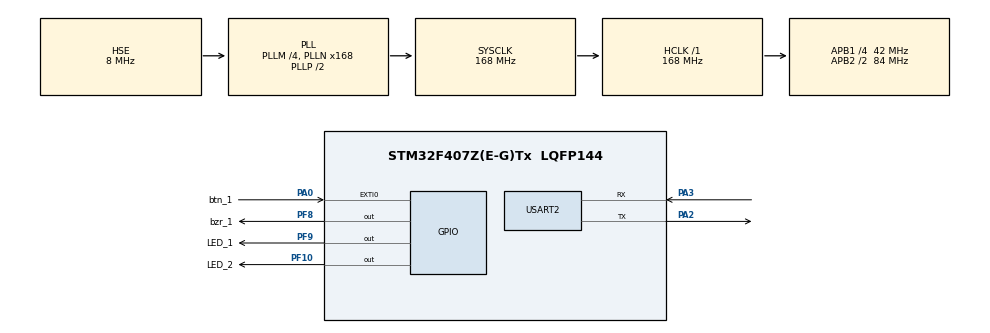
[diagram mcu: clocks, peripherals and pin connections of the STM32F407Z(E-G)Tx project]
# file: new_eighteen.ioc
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FREERTOS.Queues01=q_sendto_uart,10,uint8_t,0,Dynamic,NULL,NULL;q_sendto_output,10,uint8_t,0,Dynamic,NULL,NULL
FREERTOS.Tasks01=t_output,24,128,entry_t_light_buzzer,Default,NULL,Dynamic,NULL,NULL;t_read_btn,32,128,entry_t_read_btn,Default,NULL,Dynamic,NULL,NULL;t_uart,24,256,entry_t_uart,Default,NULL,Dynamic,NULL,NULL
Mcu.Family=STM32F4
Mcu.Name=STM32F407Z(E-G)Tx
Mcu.Package=LQFP144
NVIC.EXTI0_IRQn=true\:5\:0\:true\:false\:true\:true\:true\:true\:true
NVIC.PriorityGroup=NVIC_PRIORITYGROUP_4
NVIC.RCC_IRQn=true\:5\:0\:true\:false\:true\:true\:true\:false\:true
NVIC.TIM6_DAC_IRQn=true\:0\:0\:true\:false\:true\:false\:false\:true\:true
NVIC.TimeBase=TIM6_DAC_IRQn
NVIC.TimeBaseIP=TIM6
NVIC.USART2_IRQn=true\:9\:0\:true\:false\:true\:true\:true\:true\:true
PA0-WKUP.GPIO_Label=btn_1
PA0-WKUP.GPIO_ModeDefaultEXTI=GPIO_MODE_IT_RISING
PA0-WKUP.GPIO_PuPd=GPIO_PULLDOWN
PA0-WKUP.Signal=GPXTI0
PA13.Mode=Serial_Wire
PA13.Signal=SYS_JTMS-SWDIO
PA14.Mode=Serial_Wire
PA14.Signal=SYS_JTCK-SWCLK
PA2.Mode=Asynchronous
PA2.Signal=USART2_TX
PA3.Mode=Asynchronous
PA3.Signal=USART2_RX
PF10.GPIO_Label=LED_2
PF10.GPIO_PuPd=GPIO_PULLUP
PF10.GPIO_Speed=GPIO_SPEED_FREQ_VERY_HIGH
PF10.Signal=GPIO_Output
PF8.GPIO_Label=bzr_1
PF8.GPIO_Speed=GPIO_SPEED_FREQ_VERY_HIGH
PF8.PinState=GPIO_PIN_SET
PF8.Signal=GPIO_Output
PF9.GPIO_Label=LED_1
PF9.GPIO_PuPd=GPIO_PULLUP
PF9.GPIO_Speed=GPIO_SPEED_FREQ_VERY_HIGH
PF9.Signal=GPIO_Output
PH0-OSC_IN.Mode=HSE-External-Oscillator
PH0-OSC_IN.Signal=RCC_OSC_IN
PH1-OSC_OUT.Mode=HSE-External-Oscillator
PH1-OSC_OUT.Signal=RCC_OSC_OUT
ProjectManager.HeapSize=0x200
ProjectManager.StackSize=0x400
ProjectManager.TargetToolchain=STM32CubeIDE
RCC.48MHZClocksFreq_Value=84000000
RCC.AHBFreq_Value=168000000
RCC.APB1CLKDivider=RCC_HCLK_DIV4
RCC.APB1Freq_Value=42000000
RCC.APB1TimFreq_Value=84000000
RCC.APB2CLKDivider=RCC_HCLK_DIV2
RCC.APB2Freq_Value=84000000
RCC.APB2TimFreq_Value=168000000
RCC.CortexFreq_Value=168000000
RCC.HCLKFreq_Value=168000000
RCC.HSE_VALUE=8000000
RCC.HSI_VALUE=16000000
RCC.LSE_VALUE=32768
RCC.PLLM=4
RCC.PLLN=168
RCC.PLLSourceVirtual=RCC_PLLSOURCE_HSE
RCC.SYSCLKFreq_VALUE=168000000
RCC.SYSCLKSource=RCC_SYSCLKSOURCE_PLLCLK
RCC.VCOOutputFreq_Value=336000000
USART2.VirtualMode=VM_ASYNC
VP_FREERTOS_VS_CMSIS_V2.Mode=CMSIS_V2
VP_SYS_VS_tim6.Mode=TIM6
board=custom

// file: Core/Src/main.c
/* USER CODE BEGIN Header */
/**
  ******************************************************************************
  * @file           : main.c
  * @brief          : Main program body
  ******************************************************************************
  * @attention
  *
  * Copyright (c) 2024 STMicroelectronics.
  * All rights reserved.
  *
  * This software is licensed under terms that can be found in the LICENSE file
  * in the root directory of this software component.
  * If no LICENSE file comes with this software, it is provided AS-IS.
  *
  ******************************************************************************
  */
/* USER CODE END Header */
#include "main.h"
#include "cmsis_os.h"
#include "usart.h"
#include "gpio.h"

void SystemClock_Config(void);
void MX_FREERTOS_Init(void);

int main(void)
{

  /* MCU Configuration--------------------------------------------------------*/

  /* Reset of all peripherals, Initializes the Flash interface and the Systick. */
  HAL_Init();

  /* Configure the system clock */
  SystemClock_Config();

  /* Initialize all configured peripherals */
  MX_GPIO_Init();
  MX_USART2_UART_Init();

  /* Init scheduler */
  osKernelInitialize();

  /* Call init function for freertos objects (in cmsis_os2.c) */
  MX_FREERTOS_Init();

  /* Start scheduler */
  osKernelStart();

  /* We should never get here as control is now taken by the scheduler */

  /* Infinite loop */
  while (1)
  {

  }
}

void SystemClock_Config(void)
{
  RCC_OscInitTypeDef RCC_OscInitStruct = {0};
  RCC_ClkInitTypeDef RCC_ClkInitStruct = {0};

  /** Configure the main internal regulator output voltage
  */
  __HAL_RCC_PWR_CLK_ENABLE();
  __HAL_PWR_VOLTAGESCALING_CONFIG(PWR_REGULATOR_VOLTAGE_SCALE1);

  /** Initializes the RCC Oscillators according to the specified parameters
  * in the RCC_OscInitTypeDef structure.
  */
  RCC_OscInitStruct.OscillatorType = RCC_OSCILLATORTYPE_HSE;
  RCC_OscInitStruct.HSEState = RCC_HSE_ON;
  RCC_OscInitStruct.PLL.PLLState = RCC_PLL_ON;
  RCC_OscInitStruct.PLL.PLLSource = RCC_PLLSOURCE_HSE;
  RCC_OscInitStruct.PLL.PLLM = 4;
  RCC_OscInitStruct.PLL.PLLN = 168;
  RCC_OscInitStruct.PLL.PLLP = RCC_PLLP_DIV2;
  RCC_OscInitStruct.PLL.PLLQ = 4;
  if (HAL_RCC_OscConfig(&RCC_OscInitStruct) != HAL_OK)
  {
    Error_Handler();
  }

  /** Initializes the CPU, AHB and APB buses clocks
  */
  RCC_ClkInitStruct.ClockType = RCC_CLOCKTYPE_HCLK|RCC_CLOCKTYPE_SYSCLK
                              |RCC_CLOCKTYPE_PCLK1|RCC_CLOCKTYPE_PCLK2;
  RCC_ClkInitStruct.SYSCLKSource = RCC_SYSCLKSOURCE_PLLCLK;
  RCC_ClkInitStruct.AHBCLKDivider = RCC_SYSCLK_DIV1;
  RCC_ClkInitStruct.APB1CLKDivider = RCC_HCLK_DIV4;
  RCC_ClkInitStruct.APB2CLKDivider = RCC_HCLK_DIV2;

  if (HAL_RCC_ClockConfig(&RCC_ClkInitStruct, FLASH_LATENCY_5) != HAL_OK)
  {
    Error_Handler();
  }
}

void HAL_TIM_PeriodElapsedCallback(TIM_HandleTypeDef *htim)
{
  if (htim->Instance == TIM6) {
    HAL_IncTick();
  }
}

void Error_Handler(void)
{
  __disable_irq();
  while (1)
  {
  }
}

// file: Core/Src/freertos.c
/* USER CODE BEGIN Header */
/**
  ******************************************************************************
  * File Name          : freertos.c
  * Description        : Code for freertos applications
  ******************************************************************************
  * @attention
  *
  * Copyright (c) 2024 STMicroelectronics.
  * All rights reserved.
  *
  * This software is licensed under terms that can be found in the LICENSE file
  * in the root directory of this software component.
  * If no LICENSE file comes with this software, it is provided AS-IS.
  *
  ******************************************************************************
  */
/* USER CODE END Header */

#include "self.h"

/* USER CODE BEGIN Variables */
push_opt_stu situation = IDLE;
btn_stu extern if_btn_opr;
uint32_t gap = 0;
/* USER CODE END Variables */
/* Definitions for t_output */
osThreadId_t t_outputHandle;
const osThreadAttr_t t_output_attributes = {
  .name = "t_output",
  .stack_size = 128 * 4,
  .priority = (osPriority_t) osPriorityNormal,
};
/* Definitions for t_read_btn */
osThreadId_t t_read_btnHandle;
const osThreadAttr_t t_read_btn_attributes = {
  .name = "t_read_btn",
  .stack_size = 128 * 4,
  .priority = (osPriority_t) osPriorityAboveNormal,
};
/* Definitions for t_uart */
osThreadId_t t_uartHandle;
const osThreadAttr_t t_uart_attributes = {
  .name = "t_uart",
  .stack_size = 256 * 4,
  .priority = (osPriority_t) osPriorityNormal,
};
/* Definitions for q_sendto_uart */
osMessageQueueId_t q_sendto_uartHandle;
const osMessageQueueAttr_t q_sendto_uart_attributes = {
  .name = "q_sendto_uart"
};
/* Definitions for q_sendto_output */
osMessageQueueId_t q_sendto_outputHandle;
const osMessageQueueAttr_t q_sendto_output_attributes = {
  .name = "q_sendto_output"
};

void entry_t_light_buzzer(void *argument);
void entry_t_read_btn(void *argument);
void entry_t_uart(void *argument);

void MX_FREERTOS_Init(void); /* (MISRA C 2004 rule 8.1) */

void MX_FREERTOS_Init(void) {

  /* Create the queue(s) */
  /* creation of q_sendto_uart */
  q_sendto_uartHandle = osMessageQueueNew (10, sizeof(uint8_t), &q_sendto_uart_attributes);

  /* creation of q_sendto_output */
  q_sendto_outputHandle = osMessageQueueNew (10, sizeof(uint8_t), &q_sendto_output_attributes);

  /* Create the thread(s) */
  /* creation of t_output */
  t_outputHandle = osThreadNew(entry_t_light_buzzer, NULL, &t_output_attributes);

  /* creation of t_read_btn */
  t_read_btnHandle = osThreadNew(entry_t_read_btn, NULL, &t_read_btn_attributes);

  /* creation of t_uart */
  t_uartHandle = osThreadNew(entry_t_uart, NULL, &t_uart_attributes);

}

void entry_t_light_buzzer(void *argument)
{
  for(;;)
  {
    osDelay(1);
  }
}

void entry_t_read_btn(void *argument)
{
  /* USER CODE BEGIN entry_t_read_btn */
  uint8_t send_uart = 0;
  char send[30];
  /* Infinite loop */
  for(;;)
  {
    switch (situation)
    {
      case IDLE:
      switch (if_btn_opr)
      {
        case PUSH:
        gap = HAL_GetTick();
        break;
        case RELEASE:
        gap = HAL_GetTick() - gap;
        situation = PUSH_SHORT;
        break;
        case NO_OPR:
        break;
      }
      break;
      case PUSH_SHORT:
      if (gap > pdMS_TO_TICKS(500))
      {
        situation = PUSH_LONG;
        break;
      }else
      {
        all_init ();
        vTaskDelay (pdMS_TO_TICKS(200));
        if (if_btn_opr != NO_OPR)
        {
          situation = PUSH_DOUBLE;
          break;
        }
      }

      sprintf (send, "short %lu", gap);
      HAL_UART_Transmit_IT(&huart2, (uint8_t *) send, strlen (send));
      all_init ();
      break;
      case PUSH_LONG:
      sprintf (send, "long %lu", gap);
      HAL_UART_Transmit_IT(&huart2, (uint8_t *) send, strlen (send));
      all_init ();
      break;
      case PUSH_DOUBLE:
      sprintf (send, "double %lu", gap);
      HAL_UART_Transmit_IT(&huart2, (uint8_t *) send, strlen (send));
      all_init ();
      break;
      default:
      situation = IDLE;
      break;
    }
    vTaskDelay (100);
  }
  /* USER CODE END entry_t_read_btn */
}

void entry_t_uart(void *argument)
{
  /* USER CODE BEGIN entry_t_uart */
  uint8_t recv_btn = 0, send_opt = 0;
  char send_srn[200] = "\0", s_ipt = "short input. ",
  l_input = "long input. ", d_input = "double input. ";
  HAL_UART_Transmit_IT(&huart2, (uint8_t *) send_srn, strlen (send_srn));
  /* Infinite loop */
  for(;;)
  {
    osDelay(1);
  }
  /* USER CODE END entry_t_uart */
}
